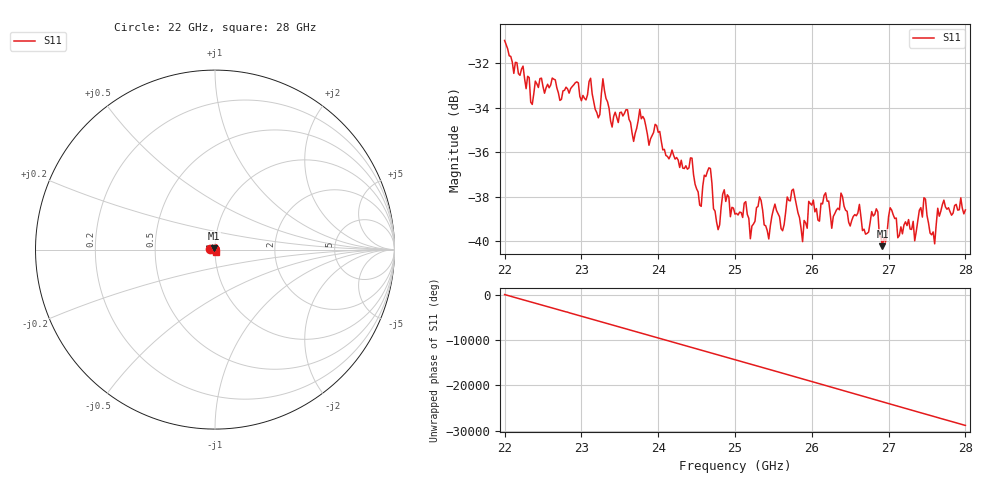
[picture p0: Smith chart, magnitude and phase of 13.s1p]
#  HZ  S  RI  R  50.00
! Rohde & Schwarz ZVA40 4Ports - Version 3.90 - 1145.1110k42 SN: 100403
! Date: 2023-10-04 10:23:56
! Measurement: S12
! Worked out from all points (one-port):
!   301 points, 22 GHz to 28 GHz, reference 50 ohm
!   lowest |S11| = -40.2 dB at 26.92 GHz (marker M1), VSWR 1.02, Z = 49.3 + j0.619 ohm
!   |S11| at or under -10 dB: start of sweep to end of sweep
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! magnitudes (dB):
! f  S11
! 22 GHz  -31.0
! 22.36 GHz  -33.8
! 22.76 GHz  -33.2
! 23.5 GHz  -34.2
! 24.26 GHz  -36.3
! 24.44 GHz  -36.3
! 24.56 GHz  -38.4
! 24.68 GHz  -36.7
! 24.78 GHz  -39.5
! 24.86 GHz  -37.7
! 25 GHz  -38.8
! 25.14 GHz  -38.2
! 25.2 GHz  -39.9
! 25.32 GHz  -38.0
! 25.44 GHz  -39.9
! 25.76 GHz  -37.7
! 25.88 GHz  -40.0
! 26.18 GHz  -37.8
! 26.5 GHz  -39.3
! 26.84 GHz  -38.5
! 26.92 GHz  -40.2
! 27.02 GHz  -38.5
! 27.26 GHz  -39.0
! 27.34 GHz  -40.0
! 27.48 GHz  -38.1
! 27.6 GHz  -40.1
! 27.72 GHz  -38.1
! 28 GHz  -38.6
